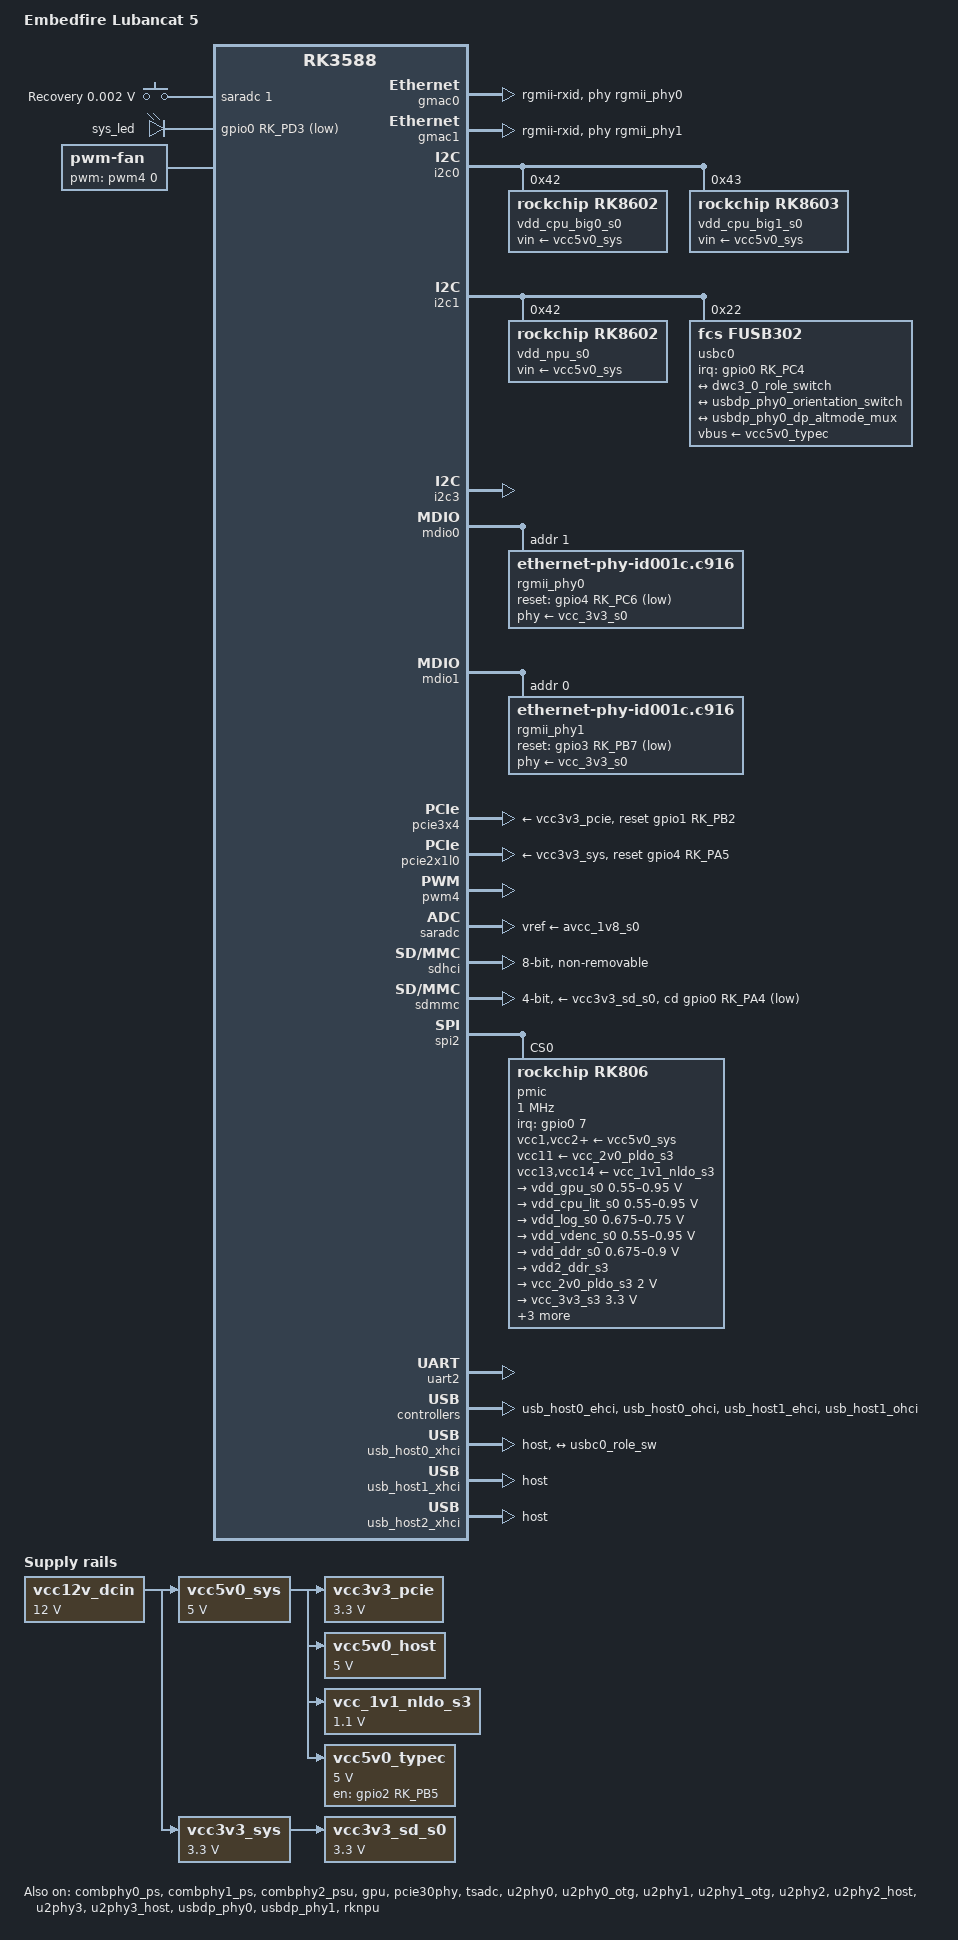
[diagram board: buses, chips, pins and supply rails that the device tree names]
// SPDX-License-Identifier: (GPL-2.0+ OR MIT)
/*
 * Copyright (c) 2021 Rockchip Electronics Co., Ltd.
 * Copyright (c) 2023 EmbedFire <embedfire@embedfire.com>
 */

/dts-v1/;

#include <dt-bindings/gpio/gpio.h>
#include <dt-bindings/input/input.h>
#include <dt-bindings/leds/common.h>
#include <dt-bindings/pinctrl/rockchip.h>
#include <dt-bindings/pwm/pwm.h>
#include <dt-bindings/usb/pd.h>
#include <rockchip/rk3588.dtsi>
#include "rk3588-rk806-single.dtsi"
#include "rk3588s-ip.dtsi"
#include "rk3588s-ip-supply.dtsi"

#include "rk3588-ramoops.dtsi"

/ {
	model = "Embedfire Lubancat 5";
	compatible = "embedfire,lubancat-5", "rockchip,rk3588";

	aliases {
		mmc0 = &sdhci;
		mmc1 = &sdmmc;
		ethernet0 = &gmac0;
		ethernet1 = &gmac1;
	};

	chosen {
		stdout-path = "serial2:1500000n8";
	};

	adc-keys {
		compatible = "adc-keys";
		io-channels = <&saradc 1>;
		io-channel-names = "buttons";
		keyup-threshold-microvolt = <1800000>;
		poll-interval = <100>;

		button-recovery {
			label = "Recovery";
			linux,code = <KEY_VENDOR>;
			press-threshold-microvolt = <1750>;
		};
	};

	gpio-leds {
		compatible = "gpio-leds";

		sys_led: led-0 {
			label = "sys_led";
			gpios = <&gpio0 RK_PD3 GPIO_ACTIVE_LOW>;
			linux,default-trigger = "heartbeat";
			pinctrl-names = "default";
			pinctrl-0 = <&sys_led_pin>;
		};
	};
	
	vcc12v_dcin: vcc12v-dcin-regulator {
		compatible = "regulator-fixed";
		regulator-name = "vcc12v_dcin";
		regulator-always-on;
		regulator-boot-on;
		regulator-min-microvolt = <12000000>;
		regulator-max-microvolt = <12000000>;
	};

	vcc5v0_sys: vcc5v0-sys-regulator {
		compatible = "regulator-fixed";
		regulator-name = "vcc5v0_sys";
		regulator-always-on;
		regulator-boot-on;
		regulator-min-microvolt = <5000000>;
		regulator-max-microvolt = <5000000>;
		vin-supply = <&vcc12v_dcin>;
	};

	vcc3v3_sys: vcc3v3-sys-regulator {
		compatible = "regulator-fixed";
		regulator-name = "vcc3v3_sys";
		regulator-always-on;
		regulator-boot-on;
		regulator-min-microvolt = <3300000>;
		regulator-max-microvolt = <3300000>;
		vin-supply = <&vcc12v_dcin>;
	};

	/* pi6c pcie clock generator */
	vcc3v3_pcie: vcc3v3_pcie-regulator {
		compatible = "regulator-fixed";
		regulator-name = "vcc3v3_pcie";
		regulator-always-on;
		regulator-boot-on;
		regulator-min-microvolt = <3300000>;
		regulator-max-microvolt = <3300000>;
		vin-supply = <&vcc5v0_sys>;
	};

	vcc5v0_host: vcc5v0-host-regulator {
		compatible = "regulator-fixed";
		regulator-name = "vcc5v0_host";
		regulator-boot-on;
		regulator-always-on;
		regulator-min-microvolt = <5000000>;
		regulator-max-microvolt = <5000000>;
		vin-supply = <&vcc5v0_sys>;
	};

	vcc_1v1_nldo_s3: vcc-1v1-nldo-s3-regulator {
		compatible = "regulator-fixed";
		regulator-name = "vcc_1v1_nldo_s3";
		regulator-always-on;
		regulator-boot-on;
		regulator-min-microvolt = <1100000>;
		regulator-max-microvolt = <1100000>;
		vin-supply = <&vcc5v0_sys>;
	};

	vcc3v3_sd_s0: vcc3v3_sd_s0-regulator {
		compatible = "regulator-fixed";
		regulator-name = "vcc3v3_sd_s0";
		regulator-always-on;
		regulator-boot-on;
		regulator-min-microvolt = <3300000>;
		regulator-max-microvolt = <3300000>;
		vin-supply = <&vcc3v3_sys>;
	};

	vcc5v0_typec: vcc5v0_typec-regulator {
		compatible = "regulator-fixed";
		regulator-name = "vcc5v0_typec";
		regulator-min-microvolt = <5000000>;
		regulator-max-microvolt = <5000000>;
		regulator-always-on;
		enable-active-high;
		regulator-boot-on;
		gpio = <&gpio2 RK_PB5 GPIO_ACTIVE_HIGH>;
		vin-supply = <&vcc5v0_sys>;
		pinctrl-names = "default";
		pinctrl-0 = <&typec_vbus_en>;
	};

	fan: pwm-fan {
		compatible = "pwm-fan";
		#cooling-cells = <2>;
		pwms = <&pwm4 0 5000 0>;
	};
};

&combphy0_ps {
	status = "okay";
};

&combphy1_ps {
	status = "okay";
};

&combphy2_psu {
	status = "okay";
};

&cpu_b0 {
	cpu-supply = <&vdd_cpu_big0_s0>;
};

&cpu_b1 {
	cpu-supply = <&vdd_cpu_big0_s0>;
};

&cpu_b2 {
	cpu-supply = <&vdd_cpu_big1_s0>;
};

&cpu_b3 {
	cpu-supply = <&vdd_cpu_big1_s0>;
};

&cpu_l0 {
	cpu-supply = <&vdd_cpu_lit_s0>;
};

&cpu_l1 {
	cpu-supply = <&vdd_cpu_lit_s0>;
};

&cpu_l2 {
	cpu-supply = <&vdd_cpu_lit_s0>;
};

&cpu_l3 {
	cpu-supply = <&vdd_cpu_lit_s0>;
};

&gmac0 {
	clock_in_out = "output";
	phy-handle = <&rgmii_phy0>;
	phy-mode = "rgmii-rxid";
	pinctrl-names = "default";
	pinctrl-0 = <&gmac0_miim
		     &gmac0_tx_bus2
		     &gmac0_rx_bus2
		     &gmac0_rgmii_clk
		     &gmac0_rgmii_bus>;
	rx_delay = <0x00>;
	tx_delay = <0x43>;
	status = "okay";
};

&gmac1 {
	clock_in_out = "output";
	phy-handle = <&rgmii_phy1>;
	phy-mode = "rgmii-rxid";
	pinctrl-names = "default";
	pinctrl-0 = <&gmac1_miim
		     &gmac1_tx_bus2
		     &gmac1_rx_bus2
		     &gmac1_rgmii_clk
		     &gmac1_rgmii_bus>;
	rx_delay = <0x00>;
	tx_delay = <0x42>;
	status = "okay";
};

&gpu {
	mali-supply = <&vdd_gpu_s0>;
	status = "okay";
};

&i2c0 {
	pinctrl-names = "default";
	pinctrl-0 = <&i2c0m2_xfer>;
	status = "okay";

	vdd_cpu_big0_s0: regulator@42 {
		compatible = "rockchip,rk8602";
		reg = <0x42>;
		fcs,suspend-voltage-selector = <1>;
		regulator-name = "vdd_cpu_big0_s0";
		regulator-always-on;
		regulator-boot-on;
		regulator-min-microvolt = <550000>;
		regulator-max-microvolt = <1050000>;
		regulator-ramp-delay = <2300>;
		vin-supply = <&vcc5v0_sys>;

		regulator-state-mem {
			regulator-off-in-suspend;
		};
	};

	vdd_cpu_big1_s0: regulator@43 {
		compatible = "rockchip,rk8603", "rockchip,rk8602";
		reg = <0x43>;
		fcs,suspend-voltage-selector = <1>;
		regulator-name = "vdd_cpu_big1_s0";
		regulator-always-on;
		regulator-boot-on;
		regulator-min-microvolt = <550000>;
		regulator-max-microvolt = <1050000>;
		regulator-ramp-delay = <2300>;
		vin-supply = <&vcc5v0_sys>;

		regulator-state-mem {
			regulator-off-in-suspend;
		};
	};
};

&i2c1 {
	pinctrl-names = "default";
	pinctrl-0 = <&i2c1m2_xfer>;
	status = "okay";

	vdd_npu_s0: vdd_npu_mem_s0: regulator@42 {
		compatible = "rockchip,rk8602";
		reg = <0x42>;
		fcs,suspend-voltage-selector = <1>;
		regulator-name = "vdd_npu_s0";
		regulator-always-on;
		regulator-boot-on;
		regulator-min-microvolt = <550000>;
		regulator-max-microvolt = <950000>;
		regulator-ramp-delay = <2300>;
		vin-supply = <&vcc5v0_sys>;

		regulator-state-mem {
			regulator-off-in-suspend;
		};
	};

	/* Typec Controller Fusb302 */
	usbc0: usb-typec@22 {
		compatible = "fcs,fusb302";
		reg = <0x22>;
		interrupt-parent = <&gpio0>;
		interrupts = <RK_PC4 IRQ_TYPE_LEVEL_LOW>;
		pinctrl-names = "default";
		pinctrl-0 = <&usbc0_int>;
		vbus-supply = <&vcc5v0_typec>;
		status = "okay";

		ports {
			#address-cells = <1>;
			#size-cells = <0>;

			port@0 {
				reg = <0>;
				usbc0_role_sw: endpoint@0 {
					remote-endpoint = <&dwc3_0_role_switch>;
				};
			};
		};

		usb_con: connector {
			compatible = "usb-c-connector";
			label = "USB-C";
			data-role = "dual";
			power-role = "dual";
			try-power-role = "sink";
			op-sink-microwatt = <1000000>;
			sink-pdos =
				<PDO_FIXED(5000, 1000, PDO_FIXED_USB_COMM)>;
			source-pdos =
				<PDO_FIXED(5000, 3000, PDO_FIXED_USB_COMM)>;

			altmodes {
				#address-cells = <1>;
				#size-cells = <0>;

				altmode@0 {
					reg = <0>;
					svid = <0xff01>;
					vdo = <0xffffffff>;
				};
			};

			ports {
				#address-cells = <1>;
				#size-cells = <0>;

				port@0 {
					reg = <0>;
					usbc0_orien_sw: endpoint {
						remote-endpoint = <&usbdp_phy0_orientation_switch>;
					};
				};

				port@1 {
					reg = <1>;
					dp_altmode_mux: endpoint {
						remote-endpoint = <&usbdp_phy0_dp_altmode_mux>;
					};
				};
			};
		};
	};
};

&i2c3 {
	status = "okay";
	pinctrl-names = "default";
	pinctrl-0 = <&i2c3m0_xfer>;
};

&mdio0 {
	rgmii_phy0: ethernet-phy@1{
		compatible = "ethernet-phy-id001c.c916","ethernet-phy-ieee802.3-c22";
		reg = <0x1>;
		phy-supply = <&vcc_3v3_s0>;
		pinctrl-names = "default";
		pinctrl-0 = <&gmac0_rstn_0>;
		reset-assert-us = <20000>;
		reset-deassert-us = <100000>;
		reset-gpios = <&gpio4 RK_PC6 GPIO_ACTIVE_LOW>;
	};
};

&mdio1 {
	rgmii_phy1: ethernet-phy@0 {
		compatible = "ethernet-phy-id001c.c916","ethernet-phy-ieee802.3-c22";
		reg = <0x0>;
		phy-supply = <&vcc_3v3_s0>;
		pinctrl-names = "default";
		pinctrl-0 = <&gmac1_rstn_l>;
		reset-assert-us = <20000>;
		reset-deassert-us = <100000>;
		reset-gpios = <&gpio3 RK_PB7 GPIO_ACTIVE_LOW>;
	};
};

&pcie30phy {
	status = "okay";
};

&pcie3x4 {
	reset-gpios = <&gpio1 RK_PB2 GPIO_ACTIVE_HIGH>;
	vpcie3v3-supply = <&vcc3v3_pcie>;
	status = "okay";
};

&pcie2x1l0 {
	reset-gpios = <&gpio4 RK_PA5 GPIO_ACTIVE_HIGH>;
	disable-gpios = <&gpio0 RK_PC6 GPIO_ACTIVE_HIGH>;
	vpcie3v3-supply = <&vcc3v3_sys>;
	status = "okay";
};

&pinctrl {
	leds {
		sys_led_pin: sys-led-pin {
			rockchip,pins = <0 RK_PD3 RK_FUNC_GPIO &pcfg_pull_none>;
		};
	};
	
	gmac {
		gmac0_rstn_0: gmac0_rstn_0 {
			rockchip,pins = <4 RK_PC6 RK_FUNC_GPIO &pcfg_pull_none>;
		};
		gmac1_rstn_l: gmac1_rstn_l {
			rockchip,pins = <3 RK_PB7 RK_FUNC_GPIO &pcfg_pull_none>;	
		};
	};	
	
	usb-typec {
		usbc0_int: fusb302-int {
			rockchip,pins = <0 RK_PC4 RK_FUNC_GPIO &pcfg_pull_up>;
		};

		typec_vbus_en: typec-vbus-en {
			rockchip,pins = <2 RK_PB5 RK_FUNC_GPIO &pcfg_pull_none>;
		};
	};
};

&pwm4 {
	pinctrl-0 = <&pwm4m0_pins>;
	status = "okay";
};

&saradc {
	status = "okay";
	vref-supply = <&avcc_1v8_s0>;
};

&sdhci {
	bus-width = <8>;
	max-frequency = <200000000>;
	mmc-hs200-1_8v;		
	non-removable;	
	status = "okay";
};

&sdmmc {
	no-sdio;
	no-mmc;
	bus-width = <4>;
	cap-mmc-highspeed;
	cap-sd-highspeed;
	disable-wp;
	sd-uhs-sdr50;
	vmmc-supply = <&vcc3v3_sd_s0>;
	vqmmc-supply = <&vccio_sd_s0>;
	cd-gpios = <&gpio0 RK_PA4 GPIO_ACTIVE_LOW>;
	status = "okay";
};

&spi2 {
	status = "okay";
	assigned-clocks = <&cru CLK_SPI2>;
	assigned-clock-rates = <200000000>;
	pinctrl-names = "default";
	pinctrl-0 = <&spi2m2_cs0 &spi2m2_pins>;
	num-cs = <1>;

	pmic@0 {
		compatible = "rockchip,rk806";
		spi-max-frequency = <1000000>;
		reg = <0x0>;
		interrupt-parent = <&gpio0>;
		interrupts = <7 IRQ_TYPE_LEVEL_LOW>;

		pinctrl-names = "default";
		pinctrl-0 = <&pmic_pins>, <&rk806_dvs1_null>,
				<&rk806_dvs2_null>, <&rk806_dvs3_null>;
		system-power-controller;

		vcc1-supply = <&vcc5v0_sys>;
		vcc2-supply = <&vcc5v0_sys>;
		vcc3-supply = <&vcc5v0_sys>;
		vcc4-supply = <&vcc5v0_sys>;
		vcc5-supply = <&vcc5v0_sys>;
		vcc6-supply = <&vcc5v0_sys>;
		vcc7-supply = <&vcc5v0_sys>;
		vcc8-supply = <&vcc5v0_sys>;
		vcc9-supply = <&vcc5v0_sys>;
		vcc10-supply = <&vcc5v0_sys>;
		vcc11-supply = <&vcc_2v0_pldo_s3>;
		vcc12-supply = <&vcc5v0_sys>;
		vcc13-supply = <&vcc_1v1_nldo_s3>;
		vcc14-supply = <&vcc_1v1_nldo_s3>;
		vcca-supply = <&vcc5v0_sys>;

		gpio-controller;
		#gpio-cells = <2>;

		rk806_dvs1_null: dvs1-null-pins {
			pins = "gpio_pwrctrl1";
			function = "pin_fun0";
		};

		rk806_dvs2_null: dvs2-null-pins {
			pins = "gpio_pwrctrl2";
			function = "pin_fun0";
		};

		rk806_dvs3_null: dvs3-null-pins {
			pins = "gpio_pwrctrl3";
			function = "pin_fun0";
		};

		regulators {
			vdd_gpu_s0: vdd_gpu_mem_s0: dcdc-reg1 {
				regulator-boot-on;
				regulator-min-microvolt = <550000>;
				regulator-max-microvolt = <950000>;
				regulator-ramp-delay = <12500>;
				regulator-name = "vdd_gpu_s0";
				regulator-enable-ramp-delay = <400>;

				regulator-state-mem {
					regulator-off-in-suspend;
				};
			};

			vdd_cpu_lit_s0: vdd_cpu_lit_mem_s0: dcdc-reg2 {
				regulator-always-on;
				regulator-boot-on;
				regulator-min-microvolt = <550000>;
				regulator-max-microvolt = <950000>;
				regulator-ramp-delay = <12500>;
				regulator-name = "vdd_cpu_lit_s0";

				regulator-state-mem {
					regulator-off-in-suspend;
				};
			};

			vdd_log_s0: dcdc-reg3 {
				regulator-always-on;
				regulator-boot-on;
				regulator-min-microvolt = <675000>;
				regulator-max-microvolt = <750000>;
				regulator-ramp-delay = <12500>;
				regulator-name = "vdd_log_s0";

				regulator-state-mem {
					regulator-off-in-suspend;
					regulator-suspend-microvolt = <750000>;
				};
			};

			vdd_vdenc_s0: vdd_vdenc_mem_s0: dcdc-reg4 {
				regulator-always-on;
				regulator-boot-on;
				regulator-min-microvolt = <550000>;
				regulator-max-microvolt = <950000>;
				regulator-init-microvolt = <750000>;
				regulator-ramp-delay = <12500>;
				regulator-name = "vdd_vdenc_s0";

				regulator-state-mem {
					regulator-off-in-suspend;
				};
			};

			vdd_ddr_s0: dcdc-reg5 {
				regulator-always-on;
				regulator-boot-on;
				regulator-min-microvolt = <675000>;
				regulator-max-microvolt = <900000>;
				regulator-ramp-delay = <12500>;
				regulator-name = "vdd_ddr_s0";

				regulator-state-mem {
					regulator-off-in-suspend;
					regulator-suspend-microvolt = <850000>;
				};
			};

			vdd2_ddr_s3: dcdc-reg6 {
				regulator-always-on;
				regulator-boot-on;
				regulator-name = "vdd2_ddr_s3";

				regulator-state-mem {
					regulator-on-in-suspend;
				};
			};

			vcc_2v0_pldo_s3: dcdc-reg7 {
				regulator-always-on;
				regulator-boot-on;
				regulator-min-microvolt = <2000000>;
				regulator-max-microvolt = <2000000>;
				regulator-ramp-delay = <12500>;
				regulator-name = "vdd_2v0_pldo_s3";

				regulator-state-mem {
					regulator-on-in-suspend;
					regulator-suspend-microvolt = <2000000>;
				};
			};

			vcc_3v3_s3: dcdc-reg8 {
				regulator-always-on;
				regulator-boot-on;
				regulator-min-microvolt = <3300000>;
				regulator-max-microvolt = <3300000>;
				regulator-name = "vcc_3v3_s3";

				regulator-state-mem {
					regulator-on-in-suspend;
					regulator-suspend-microvolt = <3300000>;
				};
			};

			vddq_ddr_s0: dcdc-reg9 {
				regulator-always-on;
				regulator-boot-on;
				regulator-name = "vddq_ddr_s0";

				regulator-state-mem {
					regulator-off-in-suspend;
				};
			};

			vcc_1v8_s3: dcdc-reg10 {
				regulator-always-on;
				regulator-boot-on;
				regulator-min-microvolt = <1800000>;
				regulator-max-microvolt = <1800000>;
				regulator-name = "vcc_1v8_s3";

				regulator-state-mem {
					regulator-on-in-suspend;
					regulator-suspend-microvolt = <1800000>;
				};
			};

			avcc_1v8_s0: pldo-reg1 {
				regulator-always-on;
				regulator-boot-on;
				regulator-min-microvolt = <1800000>;
				regulator-max-microvolt = <1800000>;
				regulator-name = "avcc_1v8_s0";

				regulator-state-mem {
					regulator-off-in-suspend;
				};
			};

			vcc_1v8_s0: pldo-reg2 {
				regulator-always-on;
				regulator-boot-on;
				regulator-min-microvolt = <1800000>;
				regulator-max-microvolt = <1800000>;
				regulator-name = "vcc_1v8_s0";

				regulator-state-mem {
					regulator-off-in-suspend;
					regulator-suspend-microvolt = <1800000>;
				};
			};

			avdd_1v2_s0: pldo-reg3 {
				regulator-always-on;
				regulator-boot-on;
				regulator-min-microvolt = <1200000>;
				regulator-max-microvolt = <1200000>;
				regulator-name = "avdd_1v2_s0";

				regulator-state-mem {
					regulator-off-in-suspend;
				};
			};
			
			vcc_3v3_s0: pldo-reg4 {
				regulator-always-on;
				regulator-boot-on;
				regulator-min-microvolt = <3300000>;
				regulator-max-microvolt = <3300000>;
				regulator-ramp-delay = <12500>;
				regulator-name = "vcc_3v3_s0";

				regulator-state-mem {
					regulator-off-in-suspend;
				};
			};

			vccio_sd_s0: pldo-reg5 {
				regulator-always-on;
				regulator-boot-on;
				regulator-min-microvolt = <1800000>;
				regulator-max-microvolt = <3300000>;
				regulator-ramp-delay = <12500>;
				regulator-name = "vccio_sd_s0";

				regulator-state-mem {
					regulator-off-in-suspend;
				};
			};

			pldo6_s3: pldo-reg6 {
				regulator-always-on;
				regulator-boot-on;
				regulator-min-microvolt = <1800000>;
				regulator-max-microvolt = <1800000>;
				regulator-name = "pldo6_s3";

				regulator-state-mem {
					regulator-on-in-suspend;
					regulator-suspend-microvolt = <1800000>;
				};
			};

			vdd_0v75_s3: nldo-reg1 {
				regulator-always-on;
				regulator-boot-on;
				regulator-min-microvolt = <750000>;
				regulator-max-microvolt = <750000>;
				regulator-name = "vdd_0v75_s3";

				regulator-state-mem {
					regulator-on-in-suspend;
					regulator-suspend-microvolt = <750000>;
				};
			};

			vdd_ddr_pll_s0: nldo-reg2 {
				regulator-always-on;
				regulator-boot-on;
				regulator-min-microvolt = <850000>;
				regulator-max-microvolt = <850000>;
				regulator-name = "vdd_ddr_pll_s0";

				regulator-state-mem {
					regulator-off-in-suspend;
					regulator-suspend-microvolt = <850000>;
				};
			};

			avdd_0v75_s0: nldo-reg3 {
				regulator-always-on;
				regulator-boot-on;
				regulator-min-microvolt = <750000>;
				regulator-max-microvolt = <750000>;
				regulator-name = "avdd_0v75_s0";

				regulator-state-mem {
					regulator-off-in-suspend;
				};
			};

			vdd_0v85_s0: nldo-reg4 {
				regulator-always-on;
				regulator-boot-on;
				regulator-min-microvolt = <850000>;
				regulator-max-microvolt = <850000>;
				regulator-name = "vdd_0v85_s0";

				regulator-state-mem {
					regulator-off-in-suspend;
				};
			};

			vdd_0v75_s0: nldo-reg5 {
				regulator-always-on;
				regulator-boot-on;
				regulator-min-microvolt = <750000>;
				regulator-max-microvolt = <750000>;
				regulator-name = "vdd_0v75_s0";

				regulator-state-mem {
					regulator-off-in-suspend;
				};
			};
		};
	};
};

&tsadc {
	status = "okay";
};

&u2phy0 {
	status = "okay";
};

&u2phy0_otg {
	phy-supply = <&vcc5v0_typec>;
	status = "okay";
};

&u2phy1 {
	status = "okay";
};

&u2phy1_otg {
	status = "okay";
};

&u2phy2 {
	status = "okay";
};

&u2phy2_host {
	phy-supply = <&vcc5v0_host>;
	status = "okay";
};

/* USB2.0 HOST1 PHY3 */
&u2phy3 {
	status = "okay";
};

&u2phy3_host {
	phy-supply = <&vcc5v0_host>;
	status = "okay";
};

&uart2 {
	pinctrl-0 = <&uart2m0_xfer>;
	status = "okay";
};

/* USB3.1/DP Combo PHY0 */
&usbdp_phy0 {
	orientation-switch;
	svid = <0xff01>;
	sbu1-dc-gpios = <&gpio1 RK_PA0 GPIO_ACTIVE_HIGH>;
	sbu2-dc-gpios = <&gpio1 RK_PA1 GPIO_ACTIVE_HIGH>;
	status = "okay";

	port {
		#address-cells = <1>;
		#size-cells = <0>;
		usbdp_phy0_orientation_switch: endpoint@0 {
			reg = <0>;
			remote-endpoint = <&usbc0_orien_sw>;
		};

		usbdp_phy0_dp_altmode_mux: endpoint@1 {
			reg = <1>;
			remote-endpoint = <&dp_altmode_mux>;
		};
	};
};

/* USB3.1/DP Combo PHY1 */
&usbdp_phy1 {
	status = "okay";
};

/* USB2.0 HOST0 Controller */
&usb_host0_ehci {
	status = "okay";
};

&usb_host0_ohci {
	status = "okay";
};

/* USB3.0 OTG0 Controller  */
&usb_host0_xhci {
	dr_mode = "host";
	usb-role-switch;
	
	status = "okay";
	port {
		#address-cells = <1>;
		#size-cells = <0>;
		dwc3_0_role_switch: endpoint@0 {
			reg = <0>;
			remote-endpoint = <&usbc0_role_sw>;
		};
	};
};

&usb_host1_ehci {
	status = "okay";
};

&usb_host1_ohci {
	status = "okay";
};

&usb_host1_xhci {
	dr_mode = "host";
	status = "okay";
};

&usb_host2_xhci {
	dr_mode = "host";
	status = "okay";
};

&rknpu {
    rknpu-supply = <&vdd_npu_s0>;
    mem-supply = <&vdd_npu_mem_s0>;
    status = "okay";
};

&rknpu_mmu {
    status = "okay";
};
